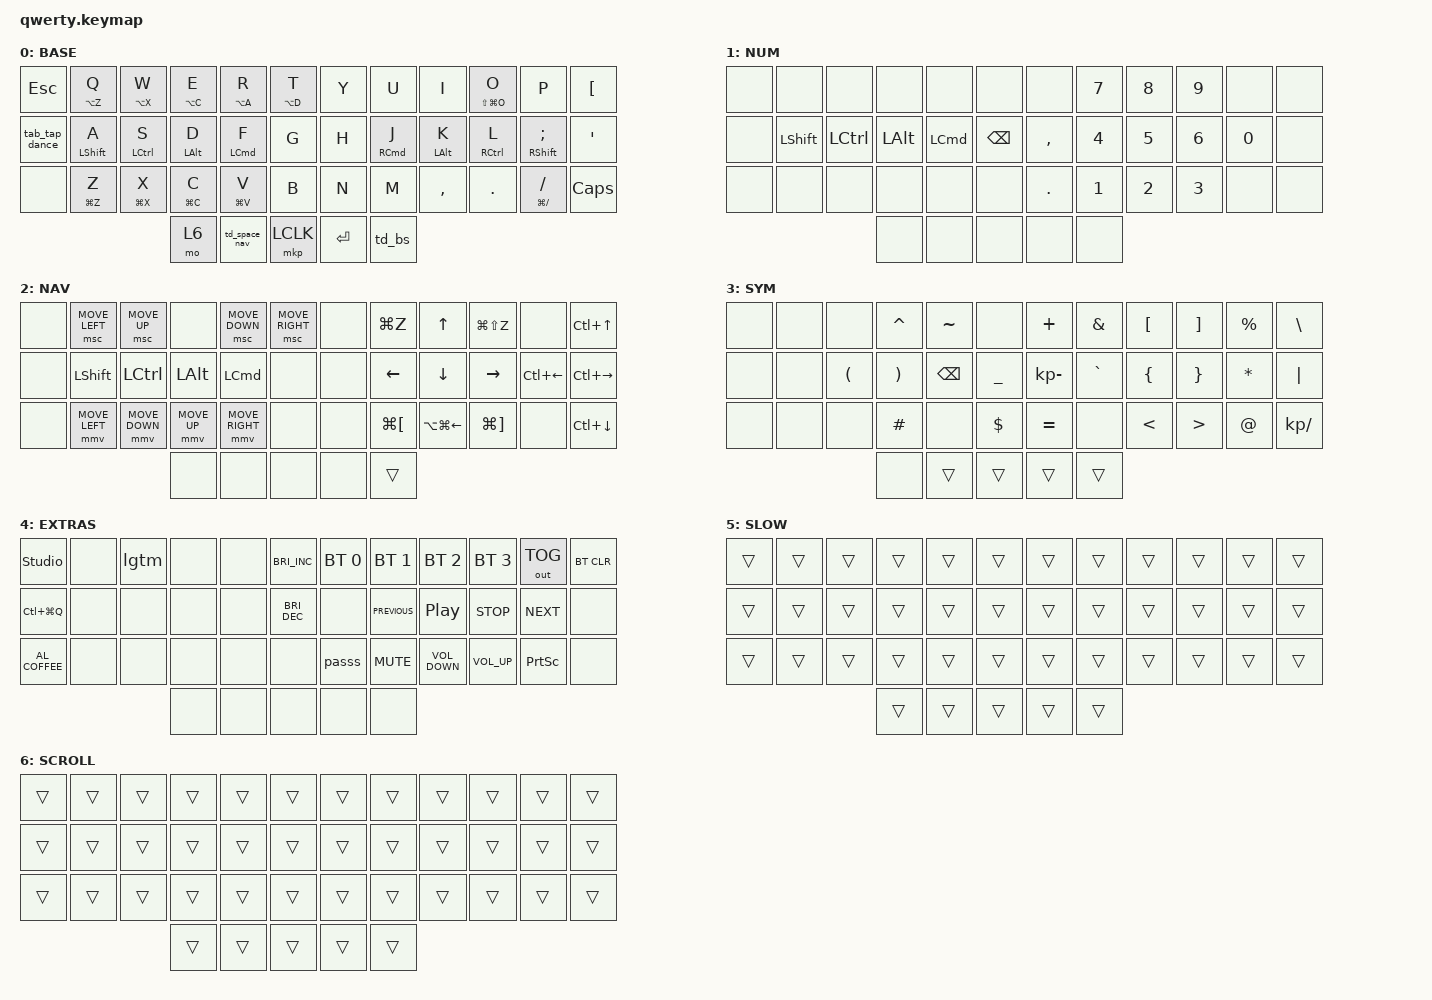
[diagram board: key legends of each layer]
/* upstream bindings and behaviors */

#include <dt-bindings/zmk/mouse.h>
#include <behaviors/mouse_keys.dtsi>
#include <behaviors.dtsi>
#include <dt-bindings/zmk/bt.h>
#include <dt-bindings/zmk/keys.h>
#include <dt-bindings/zmk/outputs.h>
#include <dt-bindings/zmk/pointing.h>
#include <dt-bindings/zmk/ext_power.h>

/* local overlays */

#include "macros.dtsi"
#include "behaviors.dtsi"
#include "combos.dtsi"

/ {
/* --- KEYMAP CONFIG --- */
// ╭──────┬──────┬──────┬──────┬──────┬──────╮  ╭──────┬──────┬──────┬──────┬──────┬──────╮
//    00     01     02     03    04      05        06     07     08     09     10     11
// ├──────┼──────┼──────┼──────┼──────┼──────┤  ├──────┼──────┼──────┼──────┼──────┼──────┤
//    12     13     14     15    16      17        18     19     20     21     22     23
// ├──────┼──────┼──────┼──────┼──────┼──────┤  ├──────┼──────┼──────┼──────┼──────┼──────┤
//    24     25     26     27    28      29        30     31     32     33     34     35
// ╰──────┴──────┴──────┼──────┼──────┼──────┤  ├──────┼──────┼──────┴──────┴──────┴──────╯
//                         36     37     38        39     40
//                      ╰──────┴──────┴──────╯  ╰──────┴──────╯
// #define BASE    0
// #define NUM     1
// #define NAV     2
// #define SYM     3
// #define EXTRAS  4
// #define SLOW    5
// #define SCROLL  6

behaviors {
ht_uni: ht_uni {
compatible = "zmk,behavior-hold-tap";
label = "HT_UNI";
bindings = <&kp>, <&kp>;

#binding-cells = <2>;
tapping-term-ms = <200>;
flavor = "tap-preferred";
};

tab_tap_dance: tab_tap_dance {
compatible = "zmk,behavior-tap-dance";
label = "TAB_TAP_DANCE";
#binding-cells = <0>;
bindings = <&ht_uni LA(TAB) TAB>, <&kp LC(TAB)>;
};
};

combos {
compatible = "zmk,combos";

xcode_run {
bindings = <&kp LG(R)>;
key-positions = <2 3 4>;
};

pipe_slashh {
bindings = <&kp PIPE>;
key-positions = <29 30>;
};

slashh {
bindings = <&kp SLASH>;
key-positions = <30 31>;
};

backslashh {
bindings = <&kp BSLH>;
key-positions = <29 28>;
};

left_brackett {
bindings = <&kp LEFT_BRACKET>;
key-positions = <17 31>;
timeout-ms = <300>;
};

right_brackett {
bindings = <&kp RIGHT_BRACKET>;
key-positions = <32 17>;
timeout-ms = <300>;
};

exclamationn {
bindings = <&kp EXCLAMATION>;
key-positions = <17 18>;
};

minuss {
bindings = <&kp MINUS>;
key-positions = <7 8>;
};

underscoree {
bindings = <&kp UNDERSCORE>;
key-positions = <8 9>;
};

equall {
bindings = <&kp EQUAL>;
key-positions = <9 10>;
};

left_bracee {
bindings = <&kp LEFT_BRACE>;
key-positions = <19 17>;
timeout-ms = <300>;
};

right_bracee {
bindings = <&kp RIGHT_BRACE>;
key-positions = <17 20>;
timeout-ms = <300>;
};

discard {
bindings = <&kp LG(LA(Z))>;
key-positions = <25 26 24>;
timeout-ms = <500>;
};

make_screenshot {
bindings = <&kp LG(LC(LS(N4)))>;
key-positions = <31 32 33>;
};

tverdyi_znak {
bindings = <&kp RIGHT_BRACKET>;
key-positions = <11 9>;
timeout-ms = <300>;
};

yo {
bindings = <&kp GRAVE>;
key-positions = <5 3>;
timeout-ms = <300>;
};

lparr {
bindings = <&kp LEFT_PARENTHESIS>;
key-positions = <40 31 32>;
timeout-ms = <300>;
};

rparr {
bindings = <&kp RIGHT_PARENTHESIS>;
key-positions = <32 33 40>;
timeout-ms = <300>;
};

global_search {
bindings = <&kp LG(LS(F))>;
key-positions = <16 3 2>;
};

search_from_selected {
bindings = <&search_from_selected_macro>;
key-positions = <16 3>;
};

ampersant_or_question {
bindings = <&kp LS(N7)>;
key-positions = <34 33>;
};

dvokrapka_rus {
bindings = <&kp LS(N6)>;
key-positions = <22 21>;
};

capss {
    bindings = <&kp CAPSLOCK>;
    key-positions = <37 40>;
};

alt_backspace {
    bindings = <&kp LA(BACKSPACE)>;
    key-positions = <31 40>;
};

paste_no_format {
    bindings = <&kp LG(LS(V))>;
    key-positions = <28 37>;
};

shift_cmd_click {
    bindings = <&shift_cmd_click>;
    key-positions = <16 38>;
};

bt2_combo {
    bindings = <&bt BT_SEL 2>;
    key-positions = <32 33 34>;
};

bt3_combo {
    bindings = <&bt BT_SEL 3>;
    key-positions = <33 34 35>;
};
};

macros {
passs: passs {
compatible = "zmk,behavior-macro";
#binding-cells = <0>;
bindings = <&kp W &kp A &kp R &kp M &kp N7 &kp RBRC &kp W &kp O &kp R &kp K &kp E &kp R &kp S &kp RBRC &kp RBRC &kp ENTER>;
label = "PASSS";
};

search_from_selected_macro: search_from_selected_macro {
compatible = "zmk,behavior-macro";
#binding-cells = <0>;
bindings =
<&kp LG(C)>,
<&macro_wait_time 200>,
<&kp LG(F)>,
<&macro_wait_time 200>,
<&kp LG(V)>;

label = "SEARCH_FROM_SELECTED_MACRO";
};
};

    keymap {
        compatible = "zmk,keymap";

        BASE {
            bindings = <
&kp ESCAPE      &ht_uni LA(Z) Q   &ht_uni LA(X) W   &ht_uni LA(C) E  &ht_uni LA(A) R  &ht_uni LA(D) T    &kp Y      &kp U             &kp I             &ht_uni LS(LG(O)) O  &kp P                      &kp LEFT_BRACKET
        &tab_tap_dance  &ht_left LSHFT A  &ht_left LCTRL S  &ht_left LALT D  &ht_left LCMD F  &kp G              &kp H      &ht_right RCMD J  &ht_right LALT K  &ht_right RCTRL L    &ht_right RSHFT SEMICOLON  &kp SQT
&none           &ht_uni LG(Z) Z   &ht_uni LG(X) X   &ht_uni LG(C) C  &ht_uni LG(V) V  &kp B              &kp N      &kp M             &kp COMMA         &kp DOT              &ht_uni LG(SLASH) SLASH    &kp CAPSLOCK
                                                    &mo 6            &td_space_nav    &mkp LCLK          &kp ENTER  &td_bs
            >;
        };

        NUM {
            bindings = <
&none  &none           &none             &none         &none             &none            &none       &kp NUMBER_7  &kp NUMBER_8  &kp NUMBER_9  &none            &none
&none  &kp LEFT_SHIFT  &kp LEFT_CONTROL  &kp LEFT_ALT  &kp LEFT_COMMAND  &kp BACKSPACE    &kp COMMA   &kp NUMBER_4  &kp NUMBER_5  &kp NUMBER_6  &kp NUMBER_0     &none
&none  &none           &none             &none         &none             &none            &kp DOT     &kp NUMBER_1  &kp NUMBER_2  &kp NUMBER_3  &none            &none
                                         &none         &none             &none            &none       &none
            >;
        };

        NAV {
            bindings = <
&none  &msc MOVE_LEFT  &msc MOVE_UP      &none         &msc MOVE_DOWN    &msc MOVE_RIGHT    &none  &kp LG(Z)             &kp UP_ARROW            &kp LG(LS(Z))          &none               &kp LC(UP)
&none  &kp LEFT_SHIFT  &kp LEFT_CONTROL  &kp LEFT_ALT  &kp LEFT_COMMAND  &none              &none  &kp LEFT_ARROW        &kp DOWN                &kp RIGHT              &kp LC(LEFT_ARROW)  &kp LC(RIGHT)
&none  &mmv MOVE_LEFT  &mmv MOVE_DOWN    &mmv MOVE_UP  &mmv MOVE_RIGHT   &none              &none  &kp LG(LEFT_BRACKET)  &kp LA(LG(LEFT_ARROW))  &kp LG(RIGHT_BRACKET)  &none               &kp LC(DOWN)
                                         &none         &none             &none              &none  &trans
            >;
        };

        SYM {
            bindings = <
&none  &none  &none     &kp CARET  &kp TILDE      &none        &kp PLUS      &kp AMPS   &kp LBKT  &kp RBKT  &kp PRCNT  &kp BSLH
&none  &none  &kp LPAR  &kp RPAR   &kp BACKSPACE  &kp UNDER    &kp KP_MINUS  &kp GRAVE  &kp LBRC  &kp RBRC  &kp ASTRK  &kp PIPE
&none  &none  &none     &kp HASH   &none          &kp DLLR     &kp EQUAL     &none      &kp LT    &kp GT    &kp AT     &kp KP_SLASH
                        &none      &trans         &trans       &trans        &trans
            >;
        };

        EXTRAS {
            bindings = <
&studio_unlock   &none  &lgtm  &none  &none  &kp C_BRIGHTNESS_INC    &bt BT_SEL 0  &bt BT_SEL 1    &bt BT_SEL 2       &bt BT_SEL 3     &out OUT_TOG     &bt BT_CLR
&kp LC(LG(Q))    &none  &none  &none  &none  &kp C_BRIGHTNESS_DEC    &none         &kp C_PREVIOUS  &kp C_PLAY_PAUSE   &kp C_STOP       &kp C_NEXT       &none
&kp C_AL_COFFEE  &none  &none  &none  &none  &none                   &passs        &kp K_MUTE      &kp C_VOLUME_DOWN  &kp C_VOLUME_UP  &kp PRINTSCREEN  &none
                               &none  &none  &none                   &none         &none
            >;
        };

        SLOW {
            bindings = <
&trans  &trans  &trans  &trans  &trans  &trans    &trans  &trans  &trans  &trans  &trans  &trans
&trans  &trans  &trans  &trans  &trans  &trans    &trans  &trans  &trans  &trans  &trans  &trans
&trans  &trans  &trans  &trans  &trans  &trans    &trans  &trans  &trans  &trans  &trans  &trans
                        &trans  &trans  &trans    &trans  &trans
            >;
        };

        SCROLL {
            bindings = <
&trans  &trans  &trans  &trans  &trans  &trans    &trans  &trans  &trans  &trans  &trans  &trans
&trans  &trans  &trans  &trans  &trans  &trans    &trans  &trans  &trans  &trans  &trans  &trans
&trans  &trans  &trans  &trans  &trans  &trans    &trans  &trans  &trans  &trans  &trans  &trans
                        &trans  &trans  &trans    &trans  &trans
            >;
        };
    };
};
